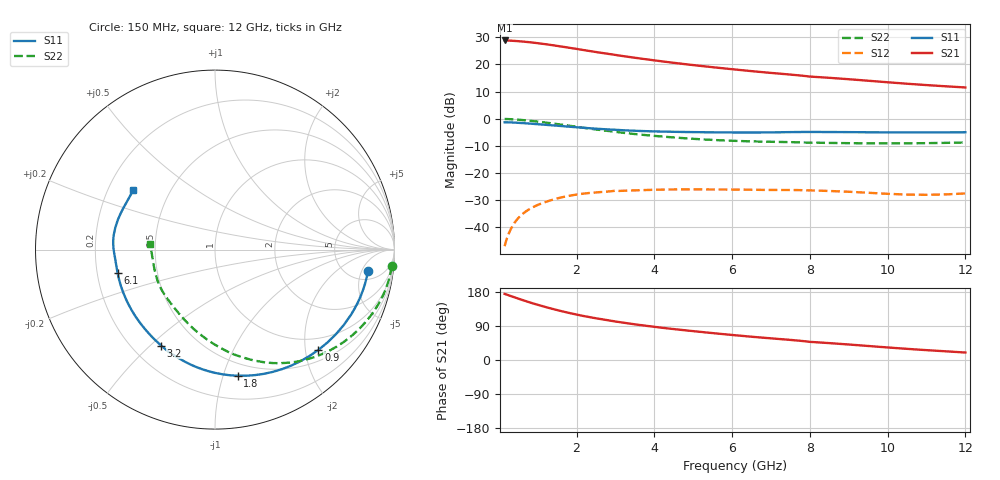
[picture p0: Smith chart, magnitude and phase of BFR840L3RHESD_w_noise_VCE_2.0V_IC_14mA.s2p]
! Infineon Technologies  Discrete & RF Semiconductors
! BFR840L3RHESD
! VCE =  2.0 V,  IC =  14 mA
! Common Emitter S-Parameters:  Jun 2012
# GHz  S  MA  R  50
!  f  S11  S21  S12  S22
! GHz  MAG  ANG  MAG  ANG  MAG  ANG  MAG  ANG
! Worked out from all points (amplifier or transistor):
!   91 points, 150 MHz to 12 GHz, reference 50 ohm
!   highest |S21| = 28.8 dB at 150 MHz (marker M1)
!   |S21| within 3 dB of that: start of sweep to 1.949 GHz
!   unconditionally stable (mu >= 1): 7.942 GHz to end of sweep
!   at 1.3 GHz: K = 0.15, MSG = 28.7 dB, |S12| = -30.2 dB
!   at 4.3 GHz: K = 0.49, MSG = 23.5 dB, |S12| = -26.1 dB
!   at 12 GHz: K = 1.94, MAG = 13.9 dB, |S12| = -27.5 dB
!   lowest NFmin = 0.86 dB at 450 MHz
!   S11 on the Smith chart (normalised r, x): 150 MHz: 7.33, -6.60; 900 MHz: 0.72, -2.27; 1.8 GHz: 0.39, -1.12; 3.2 GHz: 0.32, -0.54; 6.1 GHz: 0.29, -0.11; 12 GHz: 0.31, +0.30
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0.15  0.8604 -7.8  27.59 174.4  0.0045 80.3  0.9883 -5.4
0.3  0.8547 -15.5  27.34 169.1  0.009 76.1  0.9803 -11.3
0.45  0.8444 -23.0  26.92 163.8  0.0134 74.3  0.9653 -16.9
0.6  0.8316 -30.3  26.39 158.5  0.0174 71.6  0.9461 -22.2
0.7  0.8223 -35.0  25.99 155.2  0.0197 69.4  0.9317 -25.6
0.9  0.8027 -44.1  25.08 148.7  0.0239 64.3  0.9006 -32.2
1.1  0.7828 -52.7  24.08 142.8  0.0276 59.3  0.8674 -38.5
1.3  0.763 -60.9  23.01 137.1  0.0309 54.8  0.8329 -44.4
1.6  0.7334 -72.5  21.38 129.2  0.0354 49.4  0.7801 -52.8
1.8  0.7142 -79.8  20.31 124.4  0.0379 46.3  0.745 -57.9
2.2  0.6786 -93.0  18.28 115.7  0.0419 40.4  0.6784 -67.3
2.4  0.6629 -98.9  17.34 111.9  0.0433 37.7  0.6483 -71.5
2.7  0.642 -106.8  16.07 106.7  0.045 34.4  0.6085 -77.3
3.2  0.6132 -119.3  14.21 98.6  0.0471 29.8  0.5506 -86.4
3.6  0.596 -127.8  12.96 92.8  0.0482 26.9  0.5134 -93.0
4.2  0.5796 -139.0  11.38 85.1  0.0494 23.4  0.4698 -102.1
5.1  0.5654 -153.5  9.538 75.1  0.0499 19.7  0.4222 -114.8
6.1  0.5579 -166.7  8.022 65.1  0.0495 16.4  0.3903 -127.8
8  0.57 171.5  5.971 47.9  0.0479 13.1  0.3626 -152.7
8.5  0.5687 167.4  5.664 44.6  0.0467 12.7  0.3583 -157.2
10.5  0.5588 151.8  4.406 29.4  0.0401 18.2  0.3524 -175.6
12  0.5636 143.9  3.762 19.7  0.0421 28.5  0.3659 174.7
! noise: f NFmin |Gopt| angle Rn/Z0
0.45  0.86  0.2  6  0.14
0.9  0.9  0.2  11  0.14
1.9  0.92  0.21  33  0.14
3.5  0.92  0.22  57  0.13
4  0.94  0.22  64  0.13
5.5  0.96  0.24  80  0.12
7  1.01  0.25  99  0.12
8  1.07  0.25  111  0.11
10  1.16  0.24  129  0.11
12  1.28  0.24  167  0.11
